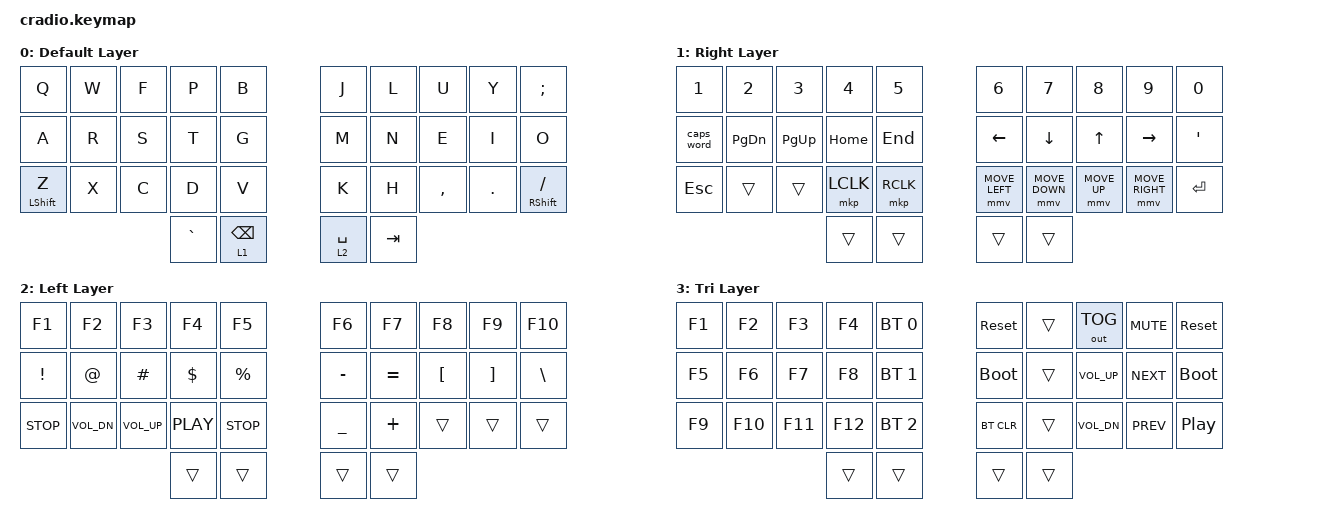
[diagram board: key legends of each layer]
// Copyright (c) 2022 The ZMK Contributors
// SPDX-License-Identifier: MIT

#define ZMK_POINTING_DEFAULT_MOVE_VAL 1200  // default: 600

#include <behaviors.dtsi>
#include <dt-bindings/zmk/bt.h>
#include <dt-bindings/zmk/keys.h>
#include <dt-bindings/zmk/outputs.h>
#include <dt-bindings/zmk/pointing.h>

&mt { quick-tap-ms = <150>; };

//
//

/ {
    behaviors {
        ht: hold_tap {
            compatible = "zmk,behavior-hold-tap";
            #binding-cells = <2>;
            flavor = "balanced";
            tapping-term-ms = <280>;
            quick-tap-ms = <175>;
            require-prior-idle-ms = <150>;
            bindings = <&kp>, <&kp>;

            hold-trigger-on-release;
        };
    };

    conditional_layers {
        compatible = "zmk,conditional-layers";

        tri_layer {
            if-layers = <1 2>;
            then-layer = <3>;
        };
    };

    combos {
        compatible = "zmk,combos";

        combo_lcmd {
            bindings = <&kp LGUI>;
            key-positions = <13 12>;
        };

        combo_lctrl {
            bindings = <&kp LCTRL>;
            key-positions = <13 11>;
        };

        combo_lalt {
            bindings = <&kp LEFT_ALT>;
            key-positions = <13 10>;
        };

        combo_rcmd {
            bindings = <&kp RCMD>;
            key-positions = <16 17>;
        };

        combo_rctrl {
            bindings = <&kp RCTRL>;
            key-positions = <16 18>;
        };

        combo_ralt {
            bindings = <&kp RIGHT_ALT>;
            key-positions = <16 19>;
        };
    };

    keymap {
        compatible = "zmk,keymap";

        Base_Layer {
            display-name = "Default Layer";
            bindings = <
&kp Q        &kp W  &kp F  &kp P      &kp B         &kp J        &kp L    &kp U      &kp Y    &kp SEMICOLON
&kp A        &kp R  &kp S  &kp T      &kp G         &kp M        &kp N    &kp E      &kp I    &kp O
&mt LSHFT Z  &kp X  &kp C  &kp D      &kp V         &kp K        &kp H    &kp COMMA  &kp DOT  &mt RSHFT FSLH
                           &kp GRAVE  &lt 1 BSPC    &lt 2 SPACE  &kp TAB
            >;
        };

        Numbers {
            display-name = "Right Layer";
            bindings = <
&kp NUMBER_1  &kp NUMBER_2   &kp NUMBER_3  &kp NUMBER_4  &kp N5       &kp NUMBER_6    &kp N7          &kp N8        &kp N9           &kp N0
&caps_word    &kp PAGE_DOWN  &kp PG_UP     &kp HOME      &kp END      &kp LEFT        &kp DOWN        &kp UP        &kp RIGHT        &kp APOS
&kp ESC       &trans         &trans        &mkp LCLK     &mkp RCLK    &mmv MOVE_LEFT  &mmv MOVE_DOWN  &mmv MOVE_UP  &mmv MOVE_RIGHT  &kp ENTER
                                           &trans        &trans       &trans          &trans
            >;
        };

        Sym_Media {
            display-name = "Left Layer";
            bindings = <
&kp F1      &kp F2        &kp F3           &kp F4      &kp F5        &kp F6          &kp F7     &kp F8    &kp F9    &kp F10
&kp EXCL    &kp AT        &kp HASH         &kp DLLR    &kp PRCNT     &kp MINUS       &kp EQUAL  &kp LBKT  &kp RBKT  &kp BACKSLASH
&kp C_STOP  &kp C_VOL_DN  &kp C_VOLUME_UP  &kp C_PLAY  &kp C_STOP    &kp UNDERSCORE  &kp PLUS   &trans    &trans    &trans
                                           &trans      &trans        &trans          &trans
            >;
        };

        Bluetooth {
            display-name = "Tri Layer";
            bindings = <
&kp F1  &kp F2   &kp F3   &kp F4   &bt BT_SEL 0    &sys_reset   &trans  &out OUT_TOG  &kp C_MUTE  &sys_reset
&kp F5  &kp F6   &kp F7   &kp F8   &bt BT_SEL 1    &bootloader  &trans  &kp C_VOL_UP  &kp C_NEXT  &bootloader
&kp F9  &kp F10  &kp F11  &kp F12  &bt BT_SEL 2    &bt BT_CLR   &trans  &kp C_VOL_DN  &kp C_PREV  &kp C_PP
                          &trans   &trans          &trans       &trans
            >;
        };
    };
};
